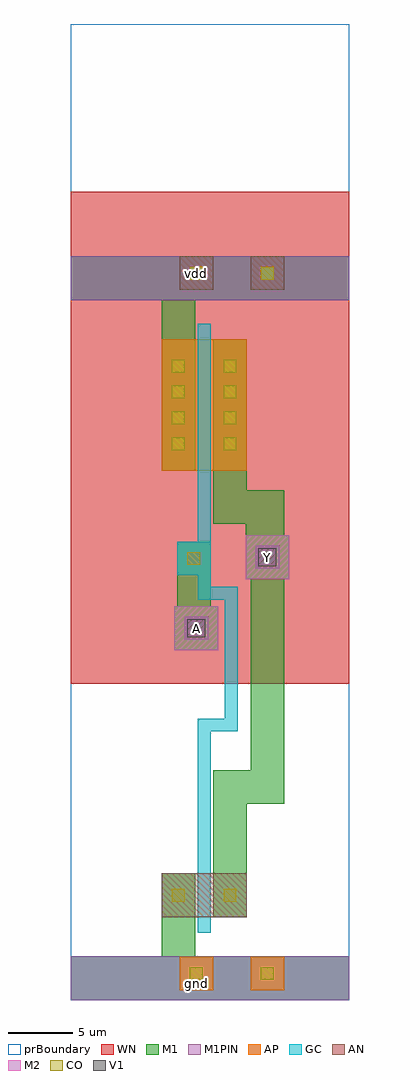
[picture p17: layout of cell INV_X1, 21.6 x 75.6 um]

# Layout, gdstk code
import gdstk
lib = gdstk.Library(unit=1e-6, precision=1e-09)
def R(c, l, rs):  # rectangles x0, y0, x1, y1
    for r in rs: c.add(gdstk.rectangle(r[:2], r[2:], *l))
def A(c, l, x, y, w, h, nx, ny, dx, dy):  # array of equal rectangles
    R(c, l, [(x+i*dx, y+j*dy, x+i*dx+w, y+j*dy+h) for i in range(nx) for j in range(ny)])
def P(c, l, *ps):  # polygons
    for p in ps: c.add(gdstk.Polygon(p, *l))
AP = (3, 1)
AN = (3, 2)
GC = (8, 1)
CO = (11, 0)
M1 = (13, 0)
V1 = (19, 0)
M2 = (20, 0)
M1PIN = (48, 1)
WN = (140, 0)
prBoundary = (235, 4)

inv_x1 = lib.new_cell('INV_X1')
R(inv_x1, AP, [(8.45,0.75,11.05,3.35), (13.95,0.75,16.55,3.35), (7.05,41,13.65,51.2)])
R(inv_x1, AN, [(7.05,6.4,13.65,9.8), (8.45,55,11.05,57.6), (13.95,55,16.55,57.6)])
P(inv_x1, GC, [(9.85,5.2),(9.85,21.8),(11.95,21.8),(11.95,31),(9.85,31),(9.85,32.9),(8.25,32.9),(8.25,35.5),(9.85,35.5),(9.85,52.4),(10.85,52.4),(10.85,32),(12.95,32),(12.95,20.8),(10.85,20.8),(10.85,5.2)])
A(inv_x1, CO, 7.85, 42.6, 1, 1, 1, 4, 0, 2)
A(inv_x1, CO, 11.85, 42.6, 1, 1, 1, 4, 0, 2)
R(inv_x1, CO, [(9.25,1.55,10.25,2.55), (14.75,1.55,15.75,2.55), (7.85,7.6,8.85,8.6), (11.85,7.6,12.85,8.6), (9.05,33.7,10.05,34.7), (9.25,55.8,10.25,56.8), (14.75,55.8,15.75,56.8)])
P(inv_x1, M1, [(0,0),(0,3.4),(7.05,3.4),(7.05,9.8),(9.65,9.8),(9.65,3.4),(21.6,3.4),(21.6,0)],
  [(8.05,27.1),(8.05,30.5),(8.25,30.5),(8.25,35.5),(10.85,35.5),(10.85,30.5),(11.45,30.5),(11.45,27.1)],
  [(11.05,6.4),(11.05,17.8),(13.95,17.8),(13.95,32.6),(13.55,32.6),(13.55,36.9),(11.05,36.9),(11.05,51.2),(13.65,51.2),(13.65,39.5),(16.55,39.5),(16.55,36),(16.95,36),(16.95,32.6),(16.55,32.6),(16.55,15.2),(13.65,15.2),(13.65,6.4)],
  [(7.05,41),(7.05,54.2),(0,54.2),(0,57.6),(21.6,57.6),(21.6,54.2),(9.65,54.2),(9.65,41)])
R(inv_x1, V1, [(9.05,28.1,10.45,29.5), (14.55,33.6,15.95,35)])
R(inv_x1, M2, [(8.05,27.1,11.45,30.5), (13.55,32.6,16.95,36)])
R(inv_x1, M1PIN, [(0,0,21.6,3.4), (8.85,27.9,10.65,29.7), (14.35,33.4,16.15,35.2), (0,54.2,21.6,57.6)])
R(inv_x1, WN, [(0,24.5,21.6,62.6)])
R(inv_x1, prBoundary, [(0,0,21.6,75.6)])
inv_x1.add(gdstk.Label('gnd', (9.75,1.3), layer=48, texttype=0))
inv_x1.add(gdstk.Label('vdd', (9.75,56.3), layer=48, texttype=0))
inv_x1.add(gdstk.Label('A', (9.75,28.8), layer=48, texttype=0))
inv_x1.add(gdstk.Label('Y', (15.25,34.3), layer=48, texttype=0))
inv_x1.add(gdstk.Label('A', (9.75,28.8), layer=49, texttype=0))
inv_x1.add(gdstk.Label('Y', (15.25,34.3), layer=49, texttype=0))

lib.write_gds('INV_X1.gds')
